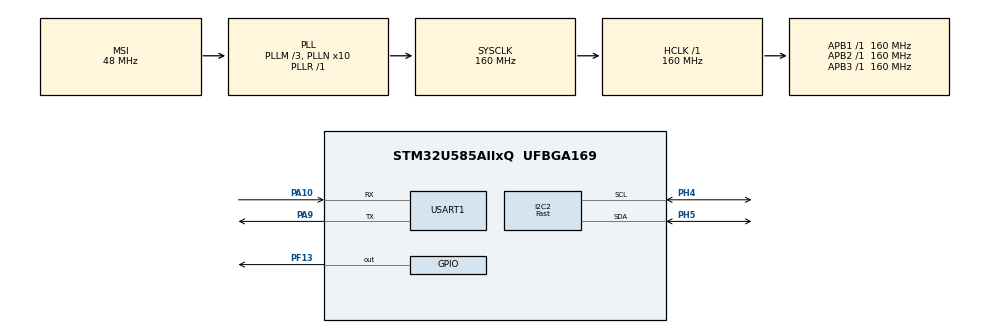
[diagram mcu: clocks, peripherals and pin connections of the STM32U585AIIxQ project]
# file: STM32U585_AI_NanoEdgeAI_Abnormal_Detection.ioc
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CORTEX_M33_NS.userName=CORTEX_M33
I2C2.I2C_Speed_Mode=I2C_Fast
I2C2.Timing=0x00F07BFF
Mcu.Family=STM32U5
Mcu.Name=STM32U585AIIxQ
Mcu.Package=UFBGA169
NVIC.PriorityGroup=NVIC_PRIORITYGROUP_4
NVIC.TIM1_UP_IRQn=true\:0\:0\:false\:false\:true\:true\:true\:true
PA10.Mode=Asynchronous
PA10.Signal=USART1_RX
PA13\ (JTMS/SWDIO).Mode=Serial_Wire
PA13\ (JTMS/SWDIO).Signal=DEBUG_JTMS-SWDIO
PA14\ (JTCK/SWCLK).Mode=Serial_Wire
PA14\ (JTCK/SWCLK).Signal=DEBUG_JTCK-SWCLK
PA9.Mode=Asynchronous
PA9.Signal=USART1_TX
PF13.Signal=GPIO_Output
PH4.Mode=I2C
PH4.Signal=I2C2_SCL
PH5.Mode=I2C
PH5.Signal=I2C2_SDA
PWR.PowerMode=PWR_SMPS_SUPPLY
ProjectManager.HeapSize=0x400
ProjectManager.StackSize=0x800
ProjectManager.TargetToolchain=STM32CubeIDE
RCC.ADCFreq_Value=16000000
RCC.AHBFreq_Value=160000000
RCC.APB1Freq_Value=160000000
RCC.APB1TimFreq_Value=160000000
RCC.APB2Freq_Value=160000000
RCC.APB2TimFreq_Value=160000000
RCC.APB3Freq_Value=160000000
RCC.CortexFreq_Value=160000000
RCC.EPOD_VALUE=48000000
RCC.HCLKFreq_Value=160000000
RCC.HSE_VALUE=16000000
RCC.HSI48_VALUE=48000000
RCC.HSI_VALUE=16000000
RCC.LSE_VALUE=32768
RCC.LSIDIV_VALUE=32000
RCC.MSIClockRange=RCC_MSIRANGE_0
RCC.MSI_VALUE=48000000
RCC.PLL1R=1
RCC.PLL2FRACN=0
RCC.PLL3FRACN=0
RCC.PLLFRACN=0
RCC.PLLM=3
RCC.PLLN=10
RCC.SYSCLKFreq_VALUE=160000000
RCC.SYSCLKSource=RCC_SYSCLKSOURCE_PLLCLK
RCC.USBFreq_Value=48000000
RCC.VCOOutputFreq_Value=160000000
TIM1.PeriodNoDither=100
TIM1.Prescaler=10000
USART1.VirtualMode-Asynchronous=VM_ASYNC
VP_ICACHE_VS_ICACHE.Mode=DirectMappedCache
VP_LPBAMQUEUE_VS_QUEUE.Mode=QUEUEMODE
VP_LPBAM_VS_SIG1.Mode=SmartRun
VP_LPBAM_VS_SIG4.Mode=LPDMA1
VP_MEMORYMAP_VS_MEMORYMAP.Mode=CurAppReg
VP_PWR_VS_DBSignals.Mode=DisableDeadBatterySignals
VP_PWR_VS_LPOM.Mode=PowerOptimisation
VP_PWR_VS_SECSignals.Mode=Security/Privilege
VP_TIM1_VS_ClockSourceINT.Mode=Internal
board=custom

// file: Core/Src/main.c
/* USER CODE BEGIN Header */
/**
  ******************************************************************************
  * @file           : main.c
  * @brief          : Main program body
  ******************************************************************************
  * @attention
  *
  * Copyright (c) 2023 STMicroelectronics.
  * All rights reserved.
  *
  * This software is licensed under terms that can be found in the LICENSE file
  * in the root directory of this software component.
  * If no LICENSE file comes with this software, it is provided AS-IS.
  *
  ******************************************************************************
  */
/* USER CODE END Header */
#include "main.h"

/* USER CODE BEGIN Includes */
#include "ism330dhcx_sensor.h"
#include "NanoEdgeAI.h"
/* USER CODE END Includes */

I2C_HandleTypeDef hi2c2;

TIM_HandleTypeDef htim1;

UART_HandleTypeDef huart1;

void SystemClock_Config(void);
static void SystemPower_Config(void);
static void MX_GPIO_Init(void);
static void MX_I2C2_Init(void);
static void MX_ICACHE_Init(void);
static void MX_MEMORYMAP_Init(void);
static void MX_USART1_UART_Init(void);
static void MX_TIM1_Init(void);

/* USER CODE BEGIN 0 */
uint8_t similarity = 0;
#define LEARNING_ITERATIONS 10
float input_user_buffer[DATA_INPUT_USER * AXIS_NUMBER]; // Buffer of input values

/* USER CODE END 0 */

int main(void)
{

  /* MCU Configuration--------------------------------------------------------*/

  /* Reset of all peripherals, Initializes the Flash interface and the Systick. */
  HAL_Init();

  /* Configure the system clock */
  SystemClock_Config();

  /* Configure the System Power */
  SystemPower_Config();

  /* Initialize all configured peripherals */
  MX_GPIO_Init();
  MX_I2C2_Init();
  MX_ICACHE_Init();
  MX_MEMORYMAP_Init();
  MX_USART1_UART_Init();
  MX_TIM1_Init();
  /* USER CODE BEGIN 2 */

  printf("\r\n\r\n=============================================== \r\n");
  ism330dhcx_init();

  printf("Acceleration abnormal detection NEAI Model Init \r\n");
  if(neai_anomalydetection_init() != NEAI_OK)
  {
    Error_Handler();
  }

  /* Learning process ----------------------------------------------------------*/
  printf("NEAI Model Learning Process.. \r\n");

  for (uint16_t iteration = 0 ; iteration < LEARNING_ITERATIONS ; iteration++)
  {
    for(int i = 0; i < DATA_INPUT_USER; i++)
    {
      ism330dhck_read_acc(&input_user_buffer[i*AXIS_NUMBER]);
      HAL_Delay(20);
    }
    neai_anomalydetection_learn(input_user_buffer);
  }

  printf("NEAI Model Inference start.. \r\n");
  /* USER CODE END 2 */

  /* Infinite loop */
  /* USER CODE BEGIN WHILE */
  while (1)
  {
    for(int i = 0; i < DATA_INPUT_USER; i++)
    {
      ism330dhck_read_acc(&input_user_buffer[i*AXIS_NUMBER]);
      HAL_Delay(20);
    }
    neai_anomalydetection_detect(input_user_buffer, &similarity);
    printf("similarity = %d\r\n",similarity);

    /* USER CODE END WHILE */

  }
}

void SystemClock_Config(void)
{
  RCC_OscInitTypeDef RCC_OscInitStruct = {0};
  RCC_ClkInitTypeDef RCC_ClkInitStruct = {0};

  /** Configure the main internal regulator output voltage
  */
  if (HAL_PWREx_ControlVoltageScaling(PWR_REGULATOR_VOLTAGE_SCALE1) != HAL_OK)
  {
    Error_Handler();
  }

  /** Initializes the CPU, AHB and APB buses clocks
  */
  RCC_OscInitStruct.OscillatorType = RCC_OSCILLATORTYPE_MSI;
  RCC_OscInitStruct.MSIState = RCC_MSI_ON;
  RCC_OscInitStruct.MSICalibrationValue = RCC_MSICALIBRATION_DEFAULT;
  RCC_OscInitStruct.MSIClockRange = RCC_MSIRANGE_0;
  RCC_OscInitStruct.PLL.PLLState = RCC_PLL_ON;
  RCC_OscInitStruct.PLL.PLLSource = RCC_PLLSOURCE_MSI;
  RCC_OscInitStruct.PLL.PLLMBOOST = RCC_PLLMBOOST_DIV4;
  RCC_OscInitStruct.PLL.PLLM = 3;
  RCC_OscInitStruct.PLL.PLLN = 10;
  RCC_OscInitStruct.PLL.PLLP = 2;
  RCC_OscInitStruct.PLL.PLLQ = 2;
  RCC_OscInitStruct.PLL.PLLR = 1;
  RCC_OscInitStruct.PLL.PLLRGE = RCC_PLLVCIRANGE_1;
  RCC_OscInitStruct.PLL.PLLFRACN = 0;
  if (HAL_RCC_OscConfig(&RCC_OscInitStruct) != HAL_OK)
  {
    Error_Handler();
  }

  /** Initializes the CPU, AHB and APB buses clocks
  */
  RCC_ClkInitStruct.ClockType = RCC_CLOCKTYPE_HCLK|RCC_CLOCKTYPE_SYSCLK
                              |RCC_CLOCKTYPE_PCLK1|RCC_CLOCKTYPE_PCLK2
                              |RCC_CLOCKTYPE_PCLK3;
  RCC_ClkInitStruct.SYSCLKSource = RCC_SYSCLKSOURCE_PLLCLK;
  RCC_ClkInitStruct.AHBCLKDivider = RCC_SYSCLK_DIV1;
  RCC_ClkInitStruct.APB1CLKDivider = RCC_HCLK_DIV1;
  RCC_ClkInitStruct.APB2CLKDivider = RCC_HCLK_DIV1;
  RCC_ClkInitStruct.APB3CLKDivider = RCC_HCLK_DIV1;

  if (HAL_RCC_ClockConfig(&RCC_ClkInitStruct, FLASH_LATENCY_4) != HAL_OK)
  {
    Error_Handler();
  }
}

/**
  * @brief Power Configuration
  * @retval None
  */
static void SystemPower_Config(void)
{

  /*
   * Disable the internal Pull-Up in Dead Battery pins of UCPD peripheral
   */
  HAL_PWREx_DisableUCPDDeadBattery();

  /*
   * Switch to SMPS regulator instead of LDO
   */
  if (HAL_PWREx_ConfigSupply(PWR_SMPS_SUPPLY) != HAL_OK)
  {
    Error_Handler();
  }
}

static void MX_I2C2_Init(void)
{

  hi2c2.Instance = I2C2;
  hi2c2.Init.Timing = 0x00F07BFF;
  hi2c2.Init.OwnAddress1 = 0;
  hi2c2.Init.AddressingMode = I2C_ADDRESSINGMODE_7BIT;
  hi2c2.Init.DualAddressMode = I2C_DUALADDRESS_DISABLE;
  hi2c2.Init.OwnAddress2 = 0;
  hi2c2.Init.OwnAddress2Masks = I2C_OA2_NOMASK;
  hi2c2.Init.GeneralCallMode = I2C_GENERALCALL_DISABLE;
  hi2c2.Init.NoStretchMode = I2C_NOSTRETCH_DISABLE;
  if (HAL_I2C_Init(&hi2c2) != HAL_OK)
  {
    Error_Handler();
  }

  /** Configure Analogue filter
  */
  if (HAL_I2CEx_ConfigAnalogFilter(&hi2c2, I2C_ANALOGFILTER_ENABLE) != HAL_OK)
  {
    Error_Handler();
  }

  /** Configure Digital filter
  */
  if (HAL_I2CEx_ConfigDigitalFilter(&hi2c2, 0) != HAL_OK)
  {
    Error_Handler();
  }

}

static void MX_ICACHE_Init(void)
{

  /** Enable instruction cache in 1-way (direct mapped cache)
  */
  if (HAL_ICACHE_ConfigAssociativityMode(ICACHE_1WAY) != HAL_OK)
  {
    Error_Handler();
  }
  if (HAL_ICACHE_Enable() != HAL_OK)
  {
    Error_Handler();
  }

}

static void MX_MEMORYMAP_Init(void)
{

}

static void MX_TIM1_Init(void)
{

  TIM_ClockConfigTypeDef sClockSourceConfig = {0};
  TIM_MasterConfigTypeDef sMasterConfig = {0};

  htim1.Instance = TIM1;
  htim1.Init.Prescaler = 10000;
  htim1.Init.CounterMode = TIM_COUNTERMODE_UP;
  htim1.Init.Period = 100;
  htim1.Init.ClockDivision = TIM_CLOCKDIVISION_DIV1;
  htim1.Init.RepetitionCounter = 0;
  htim1.Init.AutoReloadPreload = TIM_AUTORELOAD_PRELOAD_DISABLE;
  if (HAL_TIM_Base_Init(&htim1) != HAL_OK)
  {
    Error_Handler();
  }
  sClockSourceConfig.ClockSource = TIM_CLOCKSOURCE_INTERNAL;
  if (HAL_TIM_ConfigClockSource(&htim1, &sClockSourceConfig) != HAL_OK)
  {
    Error_Handler();
  }
  sMasterConfig.MasterOutputTrigger = TIM_TRGO_RESET;
  sMasterConfig.MasterOutputTrigger2 = TIM_TRGO2_RESET;
  sMasterConfig.MasterSlaveMode = TIM_MASTERSLAVEMODE_DISABLE;
  if (HAL_TIMEx_MasterConfigSynchronization(&htim1, &sMasterConfig) != HAL_OK)
  {
    Error_Handler();
  }

}

static void MX_USART1_UART_Init(void)
{

  huart1.Instance = USART1;
  huart1.Init.BaudRate = 115200;
  huart1.Init.WordLength = UART_WORDLENGTH_8B;
  huart1.Init.StopBits = UART_STOPBITS_1;
  huart1.Init.Parity = UART_PARITY_NONE;
  huart1.Init.Mode = UART_MODE_TX_RX;
  huart1.Init.HwFlowCtl = UART_HWCONTROL_NONE;
  huart1.Init.OverSampling = UART_OVERSAMPLING_16;
  huart1.Init.OneBitSampling = UART_ONE_BIT_SAMPLE_DISABLE;
  huart1.Init.ClockPrescaler = UART_PRESCALER_DIV1;
  huart1.AdvancedInit.AdvFeatureInit = UART_ADVFEATURE_NO_INIT;
  if (HAL_UART_Init(&huart1) != HAL_OK)
  {
    Error_Handler();
  }
  if (HAL_UARTEx_SetTxFifoThreshold(&huart1, UART_TXFIFO_THRESHOLD_1_8) != HAL_OK)
  {
    Error_Handler();
  }
  if (HAL_UARTEx_SetRxFifoThreshold(&huart1, UART_RXFIFO_THRESHOLD_1_8) != HAL_OK)
  {
    Error_Handler();
  }
  if (HAL_UARTEx_DisableFifoMode(&huart1) != HAL_OK)
  {
    Error_Handler();
  }

}

static void MX_GPIO_Init(void)
{
  GPIO_InitTypeDef GPIO_InitStruct = {0};

  /* GPIO Ports Clock Enable */
  __HAL_RCC_GPIOA_CLK_ENABLE();
  __HAL_RCC_GPIOH_CLK_ENABLE();
  __HAL_RCC_GPIOF_CLK_ENABLE();

  /*Configure GPIO pin Output Level */
  HAL_GPIO_WritePin(GPIOF, GPIO_PIN_13, GPIO_PIN_RESET);

  /*Configure GPIO pin : PF13 */
  GPIO_InitStruct.Pin = GPIO_PIN_13;
  GPIO_InitStruct.Mode = GPIO_MODE_OUTPUT_PP;
  GPIO_InitStruct.Pull = GPIO_NOPULL;
  GPIO_InitStruct.Speed = GPIO_SPEED_FREQ_LOW;
  HAL_GPIO_Init(GPIOF, &GPIO_InitStruct);

}

/* USER CODE BEGIN 4 */
#if 1

#ifdef __GNUC__
#define PUTCHAR_PROTOTYPE int __io_putchar(int ch)
#define GETCHAR_PROTOTYPE int __io_getchar(int ch)
#else
#define PUTCHAR_PROTOTYPE int fputc(int ch, FILE *f)
#define GETCHAR_PROTOTYPE int fgetc(FILE *f)
#endif

PUTCHAR_PROTOTYPE
{
  HAL_UART_Transmit(&huart1, (uint8_t*)&ch, 1, 0xFFFF);
  return ch;
}

#endif
/* USER CODE END 4 */

void Error_Handler(void)
{
  __disable_irq();
  while (1)
  {
  }
}
